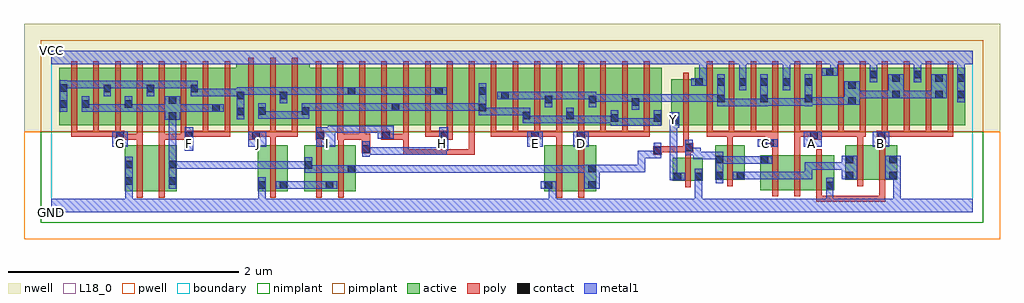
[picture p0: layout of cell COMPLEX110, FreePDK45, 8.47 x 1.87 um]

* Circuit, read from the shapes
.subckt COMPLEX110 A B C D E F G GND H I J VCC Y
M1 n1 G GND VSUBS nfet w=0.4u l=0.05u
M2 n2 F n1 VSUBS nfet w=0.4u l=0.05u
M3 n3 J GND VSUBS nfet w=0.4u l=0.05u
M4 n3 I n2 VSUBS nfet w=0.4u l=0.05u
M5 n2 H n3 VSUBS nfet w=0.4u l=0.05u
M6 n4 E GND VSUBS nfet w=0.4u l=0.05u
M7 n2 D n4 VSUBS nfet w=0.4u l=0.05u
M8 GND n2 Y VSUBS nfet w=0.2u l=0.05u
M9 n5 C n2 VSUBS nfet w=0.3u l=0.05u
M10 n6 C n2 VSUBS nfet w=0.3u l=0.05u
M11 n7 A n6 VSUBS nfet w=0.3u l=0.05u
M12 GND B n7 VSUBS nfet w=0.3u l=0.05u
M13 n8 A n5 VSUBS nfet w=0.3u l=0.05u
M14 GND B n8 VSUBS nfet w=0.3u l=0.05u
M15 n2 G n9 n10 pfet w=0.5u l=0.05u m=4
M16 n2 F n9 n10 pfet w=0.5u l=0.05u m=4
M17 n11 J n9 n10 pfet w=0.532u l=0.05u m=3
M18 n12 I n11 n10 pfet w=0.5u l=0.05u
M19 n9 H n12 n10 pfet w=0.5u l=0.05u
M20 n13 H n9 n10 pfet w=0.5u l=0.05u
M21 n11 I n13 n10 pfet w=0.5u l=0.05u
M22 n14 I n11 n10 pfet w=0.5u l=0.05u
M23 n9 H n14 n10 pfet w=0.5u l=0.05u
M24 n15 H n9 n10 pfet w=0.5u l=0.05u
M25 n11 I n15 n10 pfet w=0.5u l=0.05u
M26 n16 E n11 n10 pfet w=0.5u l=0.05u m=4
M27 n16 D n11 n10 pfet w=0.5u l=0.05u m=4
M28 VCC n2 Y n10 pfet w=0.4u l=0.05u
M29 n16 C VCC n10 pfet w=0.5u l=0.05u m=4
M30 n16 A VCC n10 pfet w=0.5u l=0.05u m=4
M31 n16 B VCC n10 pfet w=0.5u l=0.05u m=4
.ends

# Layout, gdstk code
import gdstk
lib = gdstk.Library(unit=1e-6, precision=1e-09)
def R(c, l, rs):  # rectangles x0, y0, x1, y1
    for r in rs: c.add(gdstk.rectangle(r[:2], r[2:], *l))
def A(c, l, x, y, w, h, nx, ny, dx, dy):  # array of equal rectangles
    R(c, l, [(x+i*dx, y+j*dy, x+i*dx+w, y+j*dy+h) for i in range(nx) for j in range(ny)])
active = (1, 0)
pwell = (2, 0)
nwell = (3, 0)
nimplant = (4, 0)
pimplant = (5, 0)
poly = (9, 0)
contact = (10, 0)
metal1 = (11, 0)
L18_0 = (18, 0)
boundary = (235, 0)

complex110 = lib.new_cell('COMPLEX110')
A(complex110, active, 0.635, 0.755, 0.265, 0.5, 4, 1, 0.19, 0)
A(complex110, active, 0.635, 0.755, 0.075, 0.315, 3, 1, 0.38, 0)
A(complex110, active, 6.535, 0.755, 0.26, 0.5, 3, 1, 0.38, 0)
A(complex110, active, 6.535, 0.807, 0.075, 0.393, 3, 1, 0.38, 0)
A(complex110, active, 6.72, 0.807, 0.075, 0.448, 3, 1, 0.38, 0)
R(complex110, active, [(0.64,0.18,0.865,0.58), (0.865,0.18,1.09,0.58), (1.795,0.18,2.055,0.58), (2.195,0.18,2.455,0.58), (2.38,0.18,2.645,0.58), (4.28,0.18,4.505,0.58), (4.28,0.18,4.355,0.492), (4.505,0.18,4.73,0.58), (6.155,0.192,6.38,0.492), (6.38,0.192,6.57,0.492), (6.57,0.192,6.795,0.492), (6.72,0.192,6.795,0.492), (1.795,0.2,1.87,0.58), (1.98,0.2,2.055,0.58), (2.38,0.2,2.455,0.492), (2.57,0.2,2.645,0.58), (4.655,0.2,4.73,0.58), (0.64,0.235,0.715,0.58), (1.015,0.235,1.09,0.58), (2.195,0.245,2.27,0.58), (5.397,0.272,5.472,0.472), (5.397,0.272,5.657,0.472), (5.582,0.272,5.657,0.472), (5.762,0.28,5.837,0.58), (5.762,0.28,6.022,0.58), (5.947,0.28,6.022,0.58), (6.892,0.28,6.967,0.58), (6.892,0.28,7.117,0.58), (7.117,0.28,7.342,0.58), (7.267,0.28,7.342,0.58), (6.155,0.33,6.23,0.492), (0.07,0.755,0.335,1.255), (0.07,0.755,0.145,1.2), (0.26,0.755,0.525,1.255), (0.26,0.755,0.335,1.07), (0.45,0.755,0.71,1.255), (1.395,0.755,1.68,1.255), (1.605,0.755,1.68,1.2), (1.605,0.755,1.87,1.287), (1.795,0.755,1.87,1.07), (1.795,0.755,2.055,1.287), (1.98,0.755,2.245,1.287), (2.17,0.755,2.245,1.07), (2.17,0.755,2.415,1.255), (2.415,0.755,2.645,1.255), (2.57,0.755,2.795,1.255), (2.795,0.755,3.025,1.255), (2.95,0.755,3.025,1.07), (2.95,0.755,3.175,1.255), (3.175,0.755,3.402,1.255), (3.327,0.755,3.555,1.255), (3.555,0.755,3.78,1.255), (3.705,0.755,3.975,1.255), (3.705,0.755,3.78,1.2), (3.9,0.755,4.165,1.255), (4.09,0.755,4.355,1.255), (4.09,0.755,4.165,1.07), (4.28,0.755,4.54,1.255), (4.465,0.755,4.735,1.255), (4.465,0.755,4.54,1.07), (4.66,0.755,4.925,1.255), (4.85,0.755,5.11,1.255), (4.85,0.755,4.925,1.07), (5.035,0.755,5.3,1.255), (5.225,0.755,5.3,1.07), (5.38,0.755,5.66,1.155), (5.38,0.755,5.455,1.07), (5.585,0.755,5.85,1.255), (5.775,0.755,6.04,1.255), (5.965,0.755,6.225,1.255), (6.15,0.755,6.42,1.255), (6.345,0.755,6.61,1.255), (6.72,0.755,6.99,1.255), (7.1,0.755,7.37,1.255), (7.48,0.755,7.745,1.255), (7.67,0.755,7.935,1.255), (7.86,0.755,7.935,1.255), (1.98,0.775,2.055,1.2), (4.66,0.802,4.735,1.2), (0.45,0.807,0.525,1.2), (0.825,0.807,0.9,1.2), (1.205,0.807,1.28,1.2), (2.57,0.807,2.645,1.2), (3.327,0.807,3.402,1.2), (3.9,0.807,3.975,1.2), (4.28,0.807,4.355,1.2), (5.035,0.807,5.11,1.2), (5.775,0.807,5.85,1.2), (5.965,0.807,6.04,1.255), (6.15,0.807,6.225,1.2), (6.345,0.807,6.42,1.255), (7.67,0.807,7.745,1.2), (5.585,0.907,5.66,1.255)])
R(complex110, pwell, [(-0.235,-0.235,8.235,0.7)])
R(complex110, nwell, [(-0.235,0.7,8.235,1.635)])
R(complex110, nimplant, [(-0.09,-0.09,8.09,0.7)])
R(complex110, pimplant, [(-0.09,0.7,8.09,1.49)])
A(complex110, poly, 6.26, 0.137, 0.05, 0.41, 3, 1, 0.19, 0)
A(complex110, poly, 0.175, 0.655, 0.05, 0.095, 3, 1, 0.19, 0)
A(complex110, poly, 1.125, 0.655, 0.05, 0.095, 3, 1, 0.19, 0)
A(complex110, poly, 1.71, 0.655, 0.05, 0.095, 3, 1, 0.19, 0)
A(complex110, poly, 3.815, 0.655, 0.05, 0.095, 8, 1, 0.19, 0)
A(complex110, poly, 3.815, 0.655, 0.24, 0.05, 3, 1, 0.38, 0)
A(complex110, poly, 5.69, 0.655, 0.05, 0.095, 12, 1, 0.19, 0)
A(complex110, poly, 7.21, 0.655, 0.24, 0.05, 3, 1, 0.19, 0)
A(complex110, poly, 0.175, 0.7, 0.05, 0.61, 8, 1, 0.19, 0)
A(complex110, poly, 1.71, 0.7, 0.05, 0.642, 3, 1, 0.19, 0)
A(complex110, poly, 2.295, 0.7, 0.05, 0.61, 16, 1, 0.19, 0)
A(complex110, poly, 5.69, 0.7, 0.05, 0.61, 12, 1, 0.19, 0)
R(complex110, poly, [(6.64,0.092,6.69,0.187), (6.64,0.092,6.69,0.142), (6.64,0.092,6.69,0.142), (6.64,0.092,6.69,0.142), (6.64,0.092,6.88,0.142), (6.83,0.092,6.88,0.142), (6.83,0.092,7.012,0.142), (6.962,0.092,7.012,0.142), (6.962,0.092,7.012,0.142), (6.962,0.092,7.012,0.142), (6.962,0.092,7.237,0.142), (7.187,0.092,7.237,0.142), (7.187,0.092,7.237,0.142), (7.187,0.092,7.237,0.142), (7.187,0.092,7.237,0.275), (0.745,0.125,0.795,0.635), (0.935,0.125,0.985,0.635), (1.9,0.125,1.95,0.635), (2.3,0.125,2.35,0.635), (2.49,0.125,2.54,0.635), (4.385,0.125,4.435,0.635), (4.575,0.125,4.625,0.635), (5.502,0.217,5.552,0.527), (5.867,0.225,5.917,0.635), (6.997,0.225,7.047,0.635), (7.187,0.225,7.237,0.635), (5.502,0.477,5.552,0.572), (3.055,0.497,3.105,0.547), (3.055,0.497,3.105,0.68), (3.055,0.497,3.237,0.547), (3.187,0.497,3.237,0.547), (3.187,0.497,3.237,0.547), (3.187,0.497,3.237,0.547), (3.187,0.497,3.427,0.547), (3.377,0.497,3.427,0.547), (3.377,0.497,3.675,0.547), (3.625,0.497,3.675,0.547), (3.625,0.497,3.675,0.547), (3.625,0.497,3.675,0.547), (3.625,0.497,3.675,0.547), (3.625,0.497,3.675,0.547), (3.625,0.497,3.675,0.75), (5.225,0.497,5.3,0.572), (6.26,0.497,6.31,0.612), (6.45,0.497,6.5,0.705), (2.695,0.51,2.77,0.68), (5.25,0.522,5.3,0.572), (5.25,0.522,5.3,0.572), (5.25,0.522,5.535,0.572), (5.485,0.522,5.535,0.572), (5.485,0.522,5.535,0.572), (5.485,0.522,5.575,0.597), (5.485,0.547,5.535,0.597), (5.485,0.547,5.535,0.597), (5.485,0.547,5.535,0.75), (6.202,0.562,6.31,0.705), (6.26,0.562,6.31,0.612), (6.26,0.562,6.31,0.612), (0.745,0.585,0.795,0.68), (0.935,0.585,0.985,0.68), (1.9,0.585,1.95,0.705), (2.3,0.585,2.35,0.68), (2.49,0.585,2.54,0.68), (4.385,0.585,4.435,0.705), (4.575,0.585,4.625,0.68), (5.867,0.585,5.917,0.705), (6.997,0.585,7.047,0.705), (7.187,0.585,7.237,0.68), (0.555,0.63,0.637,0.705), (0.587,0.63,0.795,0.68), (0.745,0.63,0.795,0.68), (0.745,0.63,0.795,0.68), (0.745,0.63,0.795,0.68), (0.745,0.63,0.795,0.68), (0.745,0.63,0.795,0.68), (0.745,0.63,0.795,0.75), (0.935,0.63,0.985,0.68), (0.935,0.63,0.985,0.68), (0.935,0.63,0.985,0.68), (0.935,0.63,0.985,0.68), (0.935,0.63,0.985,0.68), (0.935,0.63,1.175,0.68), (0.935,0.63,0.985,0.75), (1.125,0.63,1.232,0.705), (1.71,0.63,1.817,0.705), (2.295,0.63,2.37,0.705), (2.3,0.63,2.35,0.68), (2.3,0.63,2.35,0.68), (2.485,0.63,2.535,0.68), (2.485,0.63,2.535,0.68), (2.485,0.63,2.535,0.75), (2.485,0.63,2.54,0.68), (2.49,0.63,2.745,0.68), (2.675,0.63,2.725,0.75), (2.675,0.63,2.745,0.68), (2.695,0.63,2.745,0.68), (2.695,0.63,2.745,0.68), (2.695,0.63,2.745,0.68), (2.865,0.63,2.942,0.705), (2.892,0.63,2.942,0.68), (2.892,0.63,2.942,0.68), (2.892,0.63,3.105,0.68), (3.055,0.63,3.105,0.68), (3.055,0.63,3.105,0.68), (3.055,0.63,3.105,0.68), (3.055,0.63,3.105,0.75), (3.377,0.63,3.485,0.705), (4.162,0.63,4.245,0.705), (4.562,0.63,4.637,0.705), (6.582,0.63,6.69,0.705), (7.167,0.63,7.242,0.705), (0.175,0.655,0.225,0.705), (0.175,0.655,0.415,0.705), (0.365,0.655,0.415,0.705), (0.365,0.655,0.415,0.705), (0.365,0.655,0.415,0.705), (0.365,0.655,0.605,0.705), (0.555,0.655,0.605,0.705), (0.555,0.655,0.605,0.705), (1.182,0.655,1.365,0.705), (1.315,0.655,1.365,0.705), (1.315,0.655,1.365,0.705), (1.315,0.655,1.365,0.705), (1.315,0.655,1.555,0.705), (1.505,0.655,1.555,0.705), (1.505,0.655,1.555,0.705), (1.505,0.655,1.555,0.705), (1.767,0.655,1.817,0.705), (1.767,0.655,1.817,0.705), (1.767,0.655,1.95,0.705), (1.9,0.655,1.95,0.705), (1.9,0.655,1.95,0.705), (1.9,0.655,1.95,0.705), (1.9,0.655,2.14,0.705), (2.09,0.655,2.14,0.705), (2.09,0.655,2.14,0.705), (2.09,0.655,2.14,0.705), (2.295,0.655,2.345,0.75), (2.865,0.655,2.915,0.75), (3.245,0.655,3.295,0.75), (3.245,0.655,3.295,0.705), (3.245,0.655,3.295,0.705), (3.245,0.655,3.295,0.705), (3.245,0.655,3.427,0.705), (3.435,0.655,3.485,0.75), (3.815,0.655,3.865,0.705), (3.815,0.655,3.865,0.705), (3.815,0.655,3.865,0.705), (4.005,0.655,4.055,0.705), (4.005,0.655,4.055,0.705), (4.005,0.655,4.055,0.705), (4.005,0.655,4.212,0.705), (4.195,0.655,4.245,0.705), (4.195,0.655,4.245,0.705), (4.385,0.655,4.435,0.705), (4.385,0.655,4.435,0.705), (4.385,0.655,4.435,0.705), (4.575,0.655,4.625,0.705), (4.575,0.655,4.625,0.705), (4.575,0.655,4.625,0.705), (4.575,0.655,4.625,0.705), (4.765,0.655,4.815,0.705), (4.765,0.655,4.815,0.705), (4.765,0.655,4.815,0.705), (4.765,0.655,5.005,0.705), (4.955,0.655,5.005,0.705), (4.955,0.655,5.005,0.705), (4.955,0.655,5.005,0.705), (4.955,0.655,5.195,0.705), (5.145,0.655,5.195,0.705), (5.69,0.655,5.74,0.705), (5.69,0.655,5.74,0.705), (5.69,0.655,5.74,0.705), (5.69,0.655,5.917,0.705), (5.867,0.655,5.917,0.705), (5.867,0.655,5.917,0.705), (5.867,0.655,5.93,0.705), (5.88,0.655,5.93,0.705), (5.88,0.655,5.93,0.705), (5.88,0.655,6.12,0.705), (6.07,0.655,6.12,0.705), (6.07,0.655,6.12,0.705), (6.07,0.655,6.12,0.705), (6.07,0.655,6.252,0.705), (6.45,0.655,6.5,0.705), (6.45,0.655,6.5,0.705), (6.45,0.655,6.5,0.705), (6.45,0.655,6.5,0.705), (6.45,0.655,6.5,0.705), (6.45,0.655,6.632,0.705), (6.64,0.655,6.88,0.705), (6.83,0.655,6.88,0.705), (6.83,0.655,6.88,0.705), (6.83,0.655,6.88,0.705), (6.83,0.655,7.047,0.705), (6.997,0.655,7.047,0.705), (6.997,0.655,7.047,0.705), (6.997,0.655,7.047,0.705), (6.997,0.655,7.047,0.705), (6.997,0.655,7.07,0.705), (7.192,0.655,7.242,0.705), (7.192,0.655,7.26,0.705), (7.4,0.655,7.45,0.705), (7.4,0.655,7.45,0.705), (7.4,0.655,7.45,0.705), (7.59,0.655,7.64,0.705), (7.59,0.655,7.64,0.705), (7.59,0.655,7.64,0.705), (7.78,0.655,7.83,0.705), (7.78,0.655,7.83,0.705), (7.78,0.655,7.83,0.705), (5.485,0.7,5.535,1.21)])
A(complex110, contact, 5.59, 1.095, 0.065, 0.065, 3, 1, 0.19, 0)
R(complex110, contact, [(6.725,0.197,6.79,0.262), (1.8,0.205,1.865,0.27), (1.985,0.205,2.05,0.27), (2.385,0.205,2.45,0.27), (4.285,0.205,4.35,0.27), (4.66,0.205,4.725,0.27), (0.645,0.24,0.71,0.305), (1.02,0.24,1.085,0.305), (5.402,0.277,5.467,0.342), (5.587,0.277,5.652,0.342), (5.767,0.285,5.832,0.35), (5.952,0.285,6.017,0.35), (6.897,0.285,6.962,0.35), (7.272,0.285,7.337,0.35), (2.575,0.342,2.64,0.407), (4.66,0.345,4.725,0.41), (2.2,0.377,2.265,0.442), (0.645,0.38,0.71,0.445), (1.02,0.38,1.085,0.445), (6.16,0.422,6.225,0.487), (5.767,0.425,5.832,0.49), (6.897,0.425,6.962,0.49), (7.272,0.425,7.337,0.49), (5.23,0.502,5.295,0.567), (2.7,0.515,2.765,0.58), (5.505,0.527,5.57,0.592), (6.207,0.567,6.272,0.632), (0.567,0.635,0.632,0.7), (1.162,0.635,1.227,0.7), (1.747,0.635,1.812,0.7), (2.3,0.635,2.365,0.7), (2.872,0.635,2.937,0.7), (3.382,0.635,3.447,0.7), (4.167,0.635,4.232,0.7), (4.567,0.635,4.632,0.7), (6.587,0.635,6.652,0.7), (7.172,0.635,7.237,0.7), (5.385,0.767,5.45,0.832), (4.855,0.785,4.92,0.85), (5.23,0.785,5.295,0.85), (1.02,0.8,1.085,0.865), (4.095,0.807,4.16,0.872), (4.47,0.807,4.535,0.872), (1.61,0.842,1.675,0.907), (1.8,0.845,1.865,0.91), (2.175,0.845,2.24,0.91), (1.4,0.87,1.465,0.935), (3.71,0.877,3.775,0.942), (2.955,0.88,3.02,0.945), (0.075,0.905,0.14,0.97), (0.265,0.905,0.33,0.97), (0.64,0.905,0.705,0.97), (5.04,0.922,5.105,0.987), (6.92,0.932,6.985,0.997), (1.02,0.94,1.085,1.005), (4.285,0.945,4.35,1.01), (4.665,0.945,4.73,1.01), (5.78,0.955,5.845,1.02), (6.155,0.955,6.22,1.02), (6.54,0.955,6.605,1.02), (3.905,0.98,3.97,1.045), (1.61,0.982,1.675,1.047), (1.985,0.982,2.05,1.047), (7.3,0.99,7.365,1.055), (7.675,0.99,7.74,1.055), (7.865,0.99,7.93,1.055), (2.575,1.017,2.64,1.082), (3.332,1.017,3.397,1.082), (3.71,1.017,3.775,1.082), (0.455,1.042,0.52,1.107), (0.83,1.042,0.895,1.107), (1.21,1.042,1.275,1.107), (0.075,1.045,0.14,1.11), (6.92,1.072,6.985,1.137), (6.155,1.095,6.22,1.16), (6.35,1.095,6.415,1.16), (6.54,1.095,6.605,1.16), (7.3,1.13,7.365,1.195), (7.675,1.13,7.74,1.195), (7.865,1.13,7.93,1.195), (7.105,1.162,7.17,1.227), (7.485,1.162,7.55,1.227), (6.725,1.185,6.79,1.25)])
R(complex110, metal1, [(0,0,8,0.115), (0.645,0.05,0.71,0.27), (1.8,0.05,1.865,0.235), (4.32,0.05,4.385,0.27), (5.587,0.05,5.652,0.307), (6.725,0.05,6.79,0.227), (7.307,0.05,7.372,0.35), (6.725,0.162,6.79,0.227), (6.725,0.162,6.79,0.227), (6.725,0.162,6.79,0.297), (1.8,0.17,1.865,0.305), (0.645,0.205,0.71,0.48), (1.02,0.205,1.085,0.48), (1.95,0.205,2.085,0.27), (2.02,0.205,2.227,0.27), (2.162,0.205,2.227,0.27), (2.162,0.205,2.227,0.27), (2.162,0.205,2.227,0.27), (2.162,0.205,2.415,0.27), (2.35,0.205,2.415,0.27), (2.35,0.205,2.415,0.27), (2.35,0.205,2.485,0.27), (4.25,0.205,4.385,0.27), (4.625,0.205,4.76,0.41), (5.587,0.242,5.652,0.307), (5.587,0.242,5.652,0.307), (5.587,0.242,5.652,0.307), (5.587,0.242,5.652,0.307), (5.587,0.242,5.652,0.377), (5.767,0.25,5.832,0.525), (5.367,0.277,5.432,0.342), (5.367,0.277,5.432,0.342), (5.367,0.277,5.502,0.342), (5.367,0.277,5.432,0.797), (5.917,0.285,6.052,0.35), (5.987,0.285,6.052,0.35), (5.987,0.285,6.052,0.35), (5.987,0.285,6.19,0.35), (6.125,0.285,6.19,0.35), (6.125,0.285,6.19,0.35), (6.125,0.285,6.19,0.35), (6.125,0.285,6.46,0.35), (6.395,0.285,6.46,0.35), (6.395,0.285,6.46,0.35), (6.395,0.285,6.46,0.35), (6.395,0.285,6.605,0.35), (6.54,0.285,6.605,0.35), (6.54,0.285,6.605,0.35), (6.54,0.285,6.605,0.435), (6.862,0.285,6.997,0.49), (7.237,0.285,7.372,0.49), (7.307,0.285,7.372,0.35), (7.307,0.285,7.372,0.35), (2.2,0.342,2.265,0.477), (2.2,0.342,2.467,0.407), (2.402,0.342,2.467,0.407), (2.402,0.342,2.467,0.407), (2.402,0.342,2.467,0.407), (2.402,0.342,2.605,0.407), (2.54,0.342,2.605,0.407), (2.54,0.342,2.605,0.407), (2.54,0.342,2.675,0.407), (2.61,0.342,2.765,0.407), (2.7,0.342,2.765,0.407), (2.7,0.342,2.812,0.407), (2.747,0.342,2.812,0.407), (2.747,0.342,2.95,0.407), (2.885,0.342,2.95,0.407), (2.885,0.342,2.95,0.407), (2.885,0.342,2.95,0.407), (2.885,0.342,3.087,0.407), (3.022,0.342,3.087,0.407), (3.022,0.342,3.225,0.407), (3.16,0.342,3.225,0.407), (3.16,0.342,3.225,0.407), (3.16,0.342,3.225,0.407), (3.16,0.342,3.362,0.407), (3.297,0.342,3.362,0.407), (3.297,0.342,3.362,0.407), (3.297,0.342,3.362,0.407), (3.297,0.342,3.637,0.407), (3.572,0.342,3.637,0.407), (3.572,0.342,3.637,0.407), (3.572,0.342,3.637,0.407), (3.572,0.342,3.775,0.407), (3.71,0.342,3.775,0.407), (3.71,0.342,3.775,0.407), (3.71,0.342,3.775,0.407), (3.71,0.342,4.022,0.407), (3.957,0.342,4.022,0.407), (3.957,0.342,4.022,0.407), (3.957,0.342,4.022,0.407), (3.957,0.342,4.177,0.407), (4.112,0.342,4.177,0.407), (4.112,0.342,4.177,0.407), (4.112,0.342,4.177,0.407), (4.112,0.342,4.35,0.407), (4.285,0.342,4.35,0.407), (4.285,0.342,4.35,0.407), (4.285,0.342,4.35,0.407), (4.285,0.342,4.487,0.407), (4.422,0.342,4.487,0.407), (4.422,0.342,4.487,0.407), (4.422,0.342,4.487,0.407), (4.422,0.342,4.69,0.407), (4.695,0.345,4.76,0.41), (4.695,0.345,4.76,0.41), (4.695,0.345,4.897,0.41), (4.832,0.345,4.897,0.41), (4.832,0.345,4.897,0.41), (4.832,0.345,4.897,0.41), (4.832,0.345,5.157,0.41), (5.092,0.345,5.157,0.41), (5.092,0.345,5.157,0.532), (6.54,0.37,6.742,0.435), (6.677,0.37,6.742,0.435), (6.677,0.37,6.742,0.435), (6.677,0.37,6.742,0.435), (6.677,0.37,6.927,0.435), (1.02,0.377,1.085,0.442), (1.02,0.377,1.085,0.442), (1.02,0.377,1.275,0.442), (1.21,0.377,1.275,0.442), (1.21,0.377,1.275,0.442), (1.21,0.377,1.275,0.442), (1.21,0.377,1.502,0.442), (1.437,0.377,1.502,0.442), (1.437,0.377,1.64,0.442), (1.575,0.377,1.64,0.442), (1.575,0.377,1.64,0.442), (1.575,0.377,1.64,0.442), (1.575,0.377,1.812,0.442), (1.747,0.377,1.812,0.442), (1.747,0.377,1.812,0.442), (1.747,0.377,1.812,0.442), (1.747,0.377,1.952,0.442), (1.887,0.377,1.952,0.442), (1.887,0.377,2.09,0.442), (2.025,0.377,2.09,0.442), (2.025,0.377,2.09,0.442), (2.025,0.377,2.09,0.442), (2.025,0.377,2.265,0.442), (1.02,0.415,1.085,0.48), (1.02,0.415,1.085,0.48), (1.02,0.415,1.085,0.865), (5.767,0.422,5.845,0.487), (5.78,0.422,5.845,0.487), (5.78,0.422,6.052,0.487), (5.987,0.422,6.052,0.487), (5.987,0.422,6.052,0.487), (5.987,0.422,6.052,0.487), (5.987,0.422,6.19,0.487), (6.125,0.422,6.26,0.487), (5.575,0.46,5.64,0.525), (5.575,0.46,5.707,0.525), (5.575,0.46,5.64,0.557), (5.642,0.46,5.707,0.525), (5.642,0.46,5.832,0.525), (5.092,0.467,5.157,0.532), (5.092,0.467,5.295,0.532), (5.23,0.467,5.295,0.602), (2.7,0.48,2.765,0.615), (5.505,0.492,5.57,0.627), (5.505,0.492,5.64,0.557), (5.575,0.492,5.64,0.557), (2.7,0.497,2.812,0.562), (2.747,0.497,2.812,0.562), (2.747,0.497,2.95,0.562), (2.885,0.497,2.95,0.562), (2.885,0.497,3.087,0.562), (3.022,0.497,3.087,0.562), (3.022,0.497,3.087,0.562), (3.022,0.497,3.087,0.562), (3.022,0.497,3.225,0.562), (3.16,0.497,3.225,0.562), (3.16,0.497,3.225,0.562), (3.16,0.497,3.225,0.562), (3.16,0.497,3.432,0.562), (3.367,0.497,3.432,0.562), (3.367,0.497,3.432,0.597), (1.162,0.532,1.232,0.735), (3.367,0.532,3.432,0.597), (3.367,0.532,3.432,0.597), (3.367,0.532,3.447,0.735), (0.532,0.567,0.667,0.7), (1.712,0.567,1.867,0.7), (2.3,0.567,2.467,0.735), (4.132,0.567,4.267,0.7), (4.532,0.567,4.667,0.7), (6.132,0.567,6.307,0.632), (6.532,0.567,6.687,0.7), (7.132,0.567,7.272,0.7), (2.837,0.635,2.972,0.752), (2.402,0.67,2.467,0.735), (2.402,0.67,2.467,0.752), (2.402,0.687,2.605,0.752), (2.54,0.687,2.605,0.752), (2.54,0.687,2.605,0.752), (2.54,0.687,2.605,0.752), (2.54,0.687,2.742,0.752), (2.677,0.687,2.742,0.752), (2.677,0.687,2.812,0.752), (2.747,0.687,2.812,0.752), (2.747,0.687,2.902,0.752), (5.367,0.732,5.432,0.797), (5.367,0.732,5.432,0.797), (5.367,0.732,5.432,0.797), (5.367,0.732,5.432,0.797), (5.367,0.732,5.45,0.867), (4.855,0.75,4.92,0.815), (4.855,0.75,4.92,0.815), (4.855,0.75,4.92,0.885), (4.855,0.75,5.057,0.815), (4.992,0.75,5.057,0.815), (4.992,0.75,5.295,0.815), (5.23,0.75,5.295,0.815), (5.23,0.75,5.295,0.815), (5.23,0.75,5.295,0.885), (4.095,0.772,4.16,0.837), (4.095,0.772,4.16,0.837), (4.095,0.772,4.16,0.907), (4.095,0.772,4.315,0.837), (4.25,0.772,4.315,0.837), (4.25,0.772,4.315,0.837), (4.25,0.772,4.315,0.837), (4.25,0.772,4.535,0.837), (4.47,0.772,4.535,0.837), (4.47,0.772,4.535,0.837), (4.47,0.772,4.535,0.907), (4.47,0.772,4.69,0.837), (4.625,0.772,4.69,0.837), (4.625,0.772,4.69,0.837), (4.625,0.772,4.69,0.837), (4.625,0.772,4.92,0.837), (0.985,0.8,1.12,1.005), (1.02,0.8,1.085,0.865), (1.02,0.8,1.085,0.865), (1.02,0.8,1.085,0.865), (1.02,0.8,1.085,0.865), (1.61,0.807,1.675,1.082), (1.8,0.81,1.865,0.945), (1.8,0.81,1.952,0.875), (1.887,0.81,1.952,0.875), (1.887,0.81,2.09,0.875), (2.025,0.81,2.09,0.875), (2.025,0.81,2.09,0.875), (2.025,0.81,2.09,0.875), (2.025,0.81,2.24,0.875), (2.175,0.81,2.24,0.945), (3.71,0.842,3.775,1.117), (3.71,0.842,3.775,0.907), (3.71,0.842,3.775,0.907), (3.71,0.842,3.912,0.907), (3.847,0.842,3.912,0.907), (3.847,0.842,3.912,0.907), (3.847,0.842,3.912,0.907), (3.847,0.842,4.16,0.907), (0.075,0.87,0.14,1.145), (0.265,0.87,0.33,0.935), (0.265,0.87,0.33,0.935), (0.265,0.87,0.33,1.005), (0.265,0.87,0.52,0.935), (0.455,0.87,0.52,0.935), (0.455,0.87,0.52,0.935), (0.455,0.87,0.52,0.935), (0.455,0.87,0.705,0.935), (0.64,0.87,0.705,0.935), (0.64,0.87,0.705,0.935), (0.64,0.87,0.705,1.005), (0.64,0.87,0.912,0.935), (0.847,0.87,0.912,0.935), (0.847,0.87,0.912,0.935), (0.847,0.87,0.912,0.935), (0.847,0.87,1.05,0.935), (1.055,0.87,1.12,0.935), (1.055,0.87,1.12,0.935), (1.055,0.87,1.292,0.935), (1.227,0.87,1.292,0.935), (1.227,0.87,1.292,0.935), (1.227,0.87,1.292,0.935), (1.227,0.87,1.43,0.935), (1.365,0.87,1.5,0.935), (2.175,0.88,2.467,0.945), (2.402,0.88,2.467,0.945), (2.402,0.88,2.467,0.945), (2.402,0.88,2.467,0.945), (2.402,0.88,2.605,0.945), (2.54,0.88,2.605,0.945), (2.54,0.88,2.605,0.945), (2.54,0.88,2.605,0.945), (2.54,0.88,2.742,0.945), (2.677,0.88,2.742,0.945), (2.677,0.88,2.812,0.945), (2.747,0.88,2.812,0.945), (2.747,0.88,2.95,0.945), (2.885,0.88,2.95,0.945), (2.885,0.88,2.985,0.945), (2.92,0.88,3.055,0.945), (2.99,0.88,3.087,0.945), (3.022,0.88,3.087,0.945), (3.022,0.88,3.225,0.945), (3.16,0.88,3.225,0.945), (3.16,0.88,3.225,0.945), (3.16,0.88,3.225,0.945), (3.16,0.88,3.362,0.945), (3.297,0.88,3.362,0.945), (3.297,0.88,3.362,0.945), (3.297,0.88,3.362,0.945), (3.297,0.88,3.57,0.945), (3.505,0.88,3.57,0.945), (3.505,0.88,3.57,0.945), (3.505,0.88,3.57,0.945), (3.505,0.88,3.775,0.945), (5.04,0.887,5.105,1.022), (4.285,0.91,4.35,1.045), (4.665,0.91,4.73,1.045), (5.78,0.92,5.845,1.195), (5.78,0.92,5.845,0.985), (5.78,0.92,5.845,0.985), (5.78,0.92,6.052,0.985), (5.987,0.92,6.052,0.985), (5.987,0.92,6.052,0.985), (5.987,0.92,6.052,0.985), (5.987,0.92,6.22,0.985), (6.155,0.92,6.22,1.195), (6.54,0.92,6.605,1.195), (6.155,0.922,6.22,0.987), (6.155,0.922,6.22,0.987), (6.155,0.922,6.357,0.987), (6.292,0.922,6.357,0.987), (6.292,0.922,6.445,0.987), (6.38,0.922,6.445,0.987), (6.38,0.922,6.605,0.987), (6.54,0.932,6.605,0.997), (6.54,0.932,6.605,0.997), (6.54,0.932,6.79,0.997), (6.725,0.932,6.79,0.997), (6.725,0.932,6.79,0.997), (6.725,0.932,6.79,0.997), (6.725,0.932,6.95,0.997), (6.885,0.932,7.02,1.137), (1.985,0.947,2.05,1.082), (7.865,0.955,7.93,1.23), (4.665,0.957,4.73,1.022), (4.665,0.957,4.73,1.022), (4.665,0.957,4.897,1.022), (4.832,0.957,4.897,1.022), (4.832,0.957,4.897,1.022), (4.832,0.957,4.897,1.022), (4.832,0.957,5.105,1.022), (5.04,0.957,5.105,1.022), (5.04,0.957,5.105,1.022), (5.04,0.957,5.432,1.022), (5.367,0.957,5.432,1.022), (5.367,0.957,5.432,1.022), (5.367,0.957,5.432,1.022), (5.367,0.957,5.57,1.022), (5.505,0.957,5.57,1.022), (5.505,0.957,5.57,1.022), (5.505,0.957,5.57,1.022), (5.505,0.957,5.707,1.022), (5.642,0.957,5.707,1.022), (5.642,0.957,5.845,1.022), (3.87,0.98,4.005,1.045), (3.94,0.98,4.005,1.045), (3.94,0.98,4.005,1.045), (3.94,0.98,4.16,1.045), (4.095,0.98,4.16,1.045), (4.095,0.98,4.16,1.045), (4.095,0.98,4.16,1.045), (4.095,0.98,4.35,1.045), (4.285,0.98,4.35,1.045), (4.285,0.98,4.35,1.045), (4.285,0.98,4.552,1.045), (4.487,0.98,4.552,1.045), (4.487,0.98,4.552,1.045), (4.487,0.98,4.552,1.045), (4.487,0.98,4.73,1.045), (6.955,0.99,7.02,1.055), (6.955,0.99,7.02,1.055), (6.955,0.99,7.157,1.055), (7.092,0.99,7.157,1.055), (7.092,0.99,7.33,1.055), (7.265,0.99,7.33,1.055), (7.265,0.99,7.33,1.055), (7.265,0.99,7.4,1.195), (7.335,0.99,7.537,1.055), (7.472,0.99,7.537,1.055), (7.472,0.99,7.537,1.055), (7.472,0.99,7.537,1.055), (7.472,0.99,7.705,1.055), (7.64,0.99,7.705,1.055), (7.64,0.99,7.705,1.055), (7.64,0.99,7.775,1.195), (0.455,1.007,0.52,1.142), (0.83,1.007,0.895,1.142), (1.21,1.007,1.275,1.072), (1.21,1.007,1.275,1.072), (1.21,1.007,1.275,1.142), (1.21,1.007,1.502,1.072), (1.437,1.007,1.502,1.072), (1.437,1.007,1.502,1.072), (1.437,1.007,1.502,1.072), (1.437,1.007,1.675,1.072), (1.61,1.017,1.812,1.082), (1.747,1.017,1.812,1.082), (1.747,1.017,1.812,1.082), (1.747,1.017,1.812,1.082), (1.747,1.017,1.952,1.082), (1.887,1.017,1.952,1.082), (1.887,1.017,2.05,1.082), (1.985,1.017,2.227,1.082), (2.162,1.017,2.227,1.082), (2.162,1.017,2.227,1.082), (2.162,1.017,2.227,1.082), (2.162,1.017,2.467,1.082), (2.402,1.017,2.467,1.082), (2.402,1.017,2.467,1.082), (2.402,1.017,2.467,1.082), (2.402,1.017,2.605,1.082), (2.54,1.017,2.605,1.082), (2.54,1.017,2.605,1.082), (2.54,1.017,2.675,1.082), (2.61,1.017,2.765,1.082), (2.7,1.017,2.765,1.082), (2.7,1.017,2.812,1.082), (2.747,1.017,2.812,1.082), (2.747,1.017,2.95,1.082), (2.885,1.017,2.95,1.082), (2.885,1.017,2.95,1.082), (2.885,1.017,2.95,1.082), (2.885,1.017,3.087,1.082), (3.022,1.017,3.087,1.082), (3.022,1.017,3.225,1.082), (3.16,1.017,3.225,1.082), (3.16,1.017,3.225,1.082), (3.16,1.017,3.225,1.082), (3.16,1.017,3.362,1.082), (3.297,1.017,3.432,1.082), (5.97,1.06,6.035,1.195), (6.35,1.06,6.415,1.195), (0.075,1.077,0.14,1.142), (0.075,1.077,0.14,1.142), (0.075,1.077,0.277,1.142), (0.212,1.077,0.277,1.142), (0.212,1.077,0.277,1.142), (0.212,1.077,0.277,1.142), (0.212,1.077,0.52,1.142), (0.455,1.077,0.52,1.142), (0.455,1.077,0.52,1.142), (0.455,1.077,0.657,1.142), (0.592,1.077,0.657,1.142), (0.592,1.077,0.657,1.142), (0.592,1.077,0.657,1.142), (0.592,1.077,0.895,1.142), (0.83,1.077,0.895,1.142), (0.83,1.077,0.895,1.142), (0.83,1.077,1.137,1.142), (1.072,1.077,1.137,1.142), (1.072,1.077,1.137,1.142), (1.072,1.077,1.137,1.142), (1.072,1.077,1.275,1.142), (5.555,1.095,5.69,1.16), (5.625,1.095,5.69,1.35), (7.105,1.127,7.17,1.262), (7.485,1.127,7.55,1.262), (5.97,1.13,6.035,1.35), (6.35,1.13,6.415,1.35), (7.865,1.165,7.93,1.35), (6.69,1.185,6.825,1.25), (6.76,1.185,6.825,1.35), (7.105,1.197,7.17,1.35), (7.485,1.197,7.55,1.35), (0,1.285,8,1.4)])
A(complex110, L18_0, 0.567, 0.567, 0.065, 0.065, 4, 1, 0.6, 0)
R(complex110, L18_0, [(0,0,8,0.115), (0.645,0.05,0.71,0.27), (1.8,0.05,1.865,0.235), (4.32,0.05,4.385,0.27), (5.587,0.05,5.652,0.307), (6.725,0.05,6.79,0.227), (7.307,0.05,7.372,0.35), (6.725,0.162,6.79,0.297), (6.725,0.162,6.79,0.227), (6.725,0.162,6.79,0.227), (1.8,0.17,1.865,0.305), (0.645,0.205,0.71,0.48), (4.25,0.205,4.385,0.27), (5.587,0.242,5.652,0.377), (5.587,0.242,5.652,0.307), (5.587,0.242,5.652,0.307), (5.587,0.242,5.652,0.307), (5.587,0.242,5.652,0.307), (5.367,0.277,5.432,0.342), (5.367,0.277,5.432,0.342), (5.367,0.277,5.502,0.342), (5.367,0.277,5.432,0.797), (7.237,0.285,7.372,0.49), (7.307,0.285,7.372,0.35), (7.307,0.285,7.372,0.35), (2.7,0.48,2.765,0.615), (2.7,0.497,2.812,0.562), (2.747,0.497,2.812,0.562), (2.747,0.497,2.95,0.562), (2.885,0.497,2.95,0.562), (2.885,0.497,3.087,0.562), (3.022,0.497,3.087,0.562), (3.022,0.497,3.087,0.562), (3.022,0.497,3.087,0.562), (3.022,0.497,3.225,0.562), (3.16,0.497,3.225,0.562), (3.16,0.497,3.225,0.562), (3.16,0.497,3.225,0.562), (3.16,0.497,3.432,0.562), (3.367,0.497,3.432,0.562), (3.367,0.497,3.432,0.597), (1.162,0.532,1.232,0.735), (3.367,0.532,3.432,0.597), (3.367,0.532,3.432,0.597), (3.367,0.532,3.447,0.735), (0.532,0.567,0.667,0.7), (1.712,0.567,1.867,0.7), (2.3,0.567,2.467,0.735), (3.367,0.567,3.432,0.632), (4.132,0.567,4.267,0.7), (4.167,0.567,4.232,0.632), (4.532,0.567,4.667,0.7), (4.567,0.567,4.632,0.632), (6.132,0.567,6.307,0.632), (6.167,0.567,6.232,0.632), (6.532,0.567,6.687,0.7), (6.567,0.567,6.632,0.632), (7.132,0.567,7.272,0.7), (7.167,0.567,7.232,0.632), (2.837,0.635,2.972,0.752), (2.402,0.67,2.467,0.752), (2.402,0.67,2.467,0.735), (2.402,0.687,2.605,0.752), (2.54,0.687,2.605,0.752), (2.54,0.687,2.605,0.752), (2.54,0.687,2.605,0.752), (2.54,0.687,2.742,0.752), (2.677,0.687,2.742,0.752), (2.677,0.687,2.812,0.752), (2.747,0.687,2.812,0.752), (2.747,0.687,2.902,0.752), (5.367,0.732,5.432,0.797), (5.367,0.732,5.432,0.797), (5.367,0.732,5.432,0.797), (5.367,0.732,5.432,0.797), (5.367,0.732,5.45,0.867), (5.367,0.767,5.432,0.832), (7.865,0.955,7.93,1.23), (5.97,1.06,6.035,1.195), (6.35,1.06,6.415,1.195), (5.555,1.095,5.69,1.16), (5.625,1.095,5.69,1.35), (7.105,1.127,7.17,1.262), (7.485,1.127,7.55,1.262), (5.97,1.13,6.035,1.35), (6.35,1.13,6.415,1.35), (7.865,1.165,7.93,1.35), (6.69,1.185,6.825,1.25), (6.76,1.185,6.825,1.35), (7.105,1.197,7.17,1.35), (7.485,1.197,7.55,1.35), (0,1.285,8,1.4)])
R(complex110, boundary, [(0,0,8,1.4)])
complex110.add(gdstk.Label('A', (6.6,0.6), layer=11, texttype=0))
complex110.add(gdstk.Label('B', (7.2,0.6), layer=11, texttype=0))
complex110.add(gdstk.Label('C', (6.2,0.6), layer=11, texttype=0))
complex110.add(gdstk.Label('D', (4.6,0.6), layer=11, texttype=0))
complex110.add(gdstk.Label('E', (4.2,0.6), layer=11, texttype=0))
complex110.add(gdstk.Label('F', (1.2,0.6), layer=11, texttype=0))
complex110.add(gdstk.Label('G', (0.6,0.6), layer=11, texttype=0))
complex110.add(gdstk.Label('H', (3.4,0.6), layer=11, texttype=0))
complex110.add(gdstk.Label('I', (2.4,0.6), layer=11, texttype=0))
complex110.add(gdstk.Label('J', (1.8,0.6), layer=11, texttype=0))
complex110.add(gdstk.Label('Y', (5.4,0.8), layer=11, texttype=0))
complex110.add(gdstk.Label('VCC', (0,1.4), layer=11, texttype=0))
complex110.add(gdstk.Label('GND', (0,0), layer=11, texttype=0))

lib.write_gds('COMPLEX110.gds')
